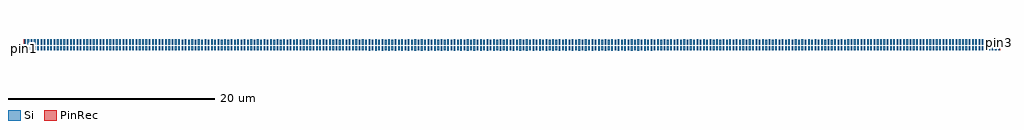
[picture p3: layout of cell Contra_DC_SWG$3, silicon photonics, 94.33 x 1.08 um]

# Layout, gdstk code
import gdstk
lib = gdstk.Library(unit=1e-6, precision=1e-09)
def R(c, l, rs):  # rectangles x0, y0, x1, y1
    for r in rs: c.add(gdstk.rectangle(r[:2], r[2:], *l))
def A(c, l, x, y, w, h, nx, ny, dx, dy):  # array of equal rectangles
    R(c, l, [(x+i*dx, y+j*dy, x+i*dx+w, y+j*dy+h) for i in range(nx) for j in range(ny)])
Si = (1, 0)
PinRec = (1, 10)

contra_dc_swg_3 = lib.new_cell('Contra_DC_SWG$3')
A(contra_dc_swg_3, Si, 42.716, -0.229, 0.158, 0.399, 14, 1, 0.634, 0)
A(contra_dc_swg_3, Si, 40.814, -0.228, 0.158, 0.399, 3, 1, 0.634, 0)
A(contra_dc_swg_3, Si, 51.592, -0.228, 0.158, 0.399, 3, 1, 0.634, 0)
A(contra_dc_swg_3, Si, 38.912, -0.227, 0.158, 0.399, 3, 1, 0.634, 0)
A(contra_dc_swg_3, Si, 53.494, -0.227, 0.158, 0.399, 3, 1, 0.634, 0)
A(contra_dc_swg_3, Si, 14.186, -0.205, 0.158, 0.399, 3, 1, 0.634, 0)
A(contra_dc_swg_3, Si, 78.22, -0.205, 0.158, 0.399, 3, 1, 0.634, 0)
A(contra_dc_swg_3, Si, 12.284, -0.204, 0.158, 0.399, 3, 1, 0.634, 0)
A(contra_dc_swg_3, Si, 80.122, -0.204, 0.158, 0.399, 3, 1, 0.634, 0)
A(contra_dc_swg_3, Si, 9.748, -0.203, 0.158, 0.399, 4, 1, 0.634, 0)
A(contra_dc_swg_3, Si, 82.024, -0.203, 0.158, 0.399, 4, 1, 0.634, 0)
A(contra_dc_swg_3, Si, 6.578, -0.202, 0.158, 0.399, 5, 1, 0.634, 0)
A(contra_dc_swg_3, Si, 84.56, -0.202, 0.158, 0.399, 5, 1, 0.634, 0)
A(contra_dc_swg_3, Si, 2.14, -0.201, 0.158, 0.399, 7, 1, 0.634, 0)
A(contra_dc_swg_3, Si, 87.73, -0.201, 0.158, 0.399, 7, 1, 0.634, 0)
A(contra_dc_swg_3, Si, -0.079, -0.2, 0.158, 0.4, 149, 1, 0.634, 0)
A(contra_dc_swg_3, Si, 0.238, -0.2, 0.158, 0.399, 3, 1, 0.634, 0)
A(contra_dc_swg_3, Si, 92.168, -0.2, 0.158, 0.399, 3, 1, 0.634, 0)
A(contra_dc_swg_3, Si, 43.667, 0.311, 0.158, 0.499, 12, 1, 0.634, 0)
A(contra_dc_swg_3, Si, 41.765, 0.312, 0.158, 0.499, 3, 1, 0.634, 0)
A(contra_dc_swg_3, Si, 51.275, 0.312, 0.158, 0.499, 3, 1, 0.634, 0)
A(contra_dc_swg_3, Si, 11.967, 0.345, 0.158, 0.499, 3, 1, 0.634, 0)
A(contra_dc_swg_3, Si, 81.073, 0.345, 0.158, 0.499, 3, 1, 0.634, 0)
A(contra_dc_swg_3, Si, 10.065, 0.346, 0.158, 0.499, 3, 1, 0.634, 0)
A(contra_dc_swg_3, Si, 82.975, 0.346, 0.158, 0.499, 3, 1, 0.634, 0)
A(contra_dc_swg_3, Si, 8.163, 0.347, 0.158, 0.499, 3, 1, 0.634, 0)
A(contra_dc_swg_3, Si, 84.877, 0.347, 0.158, 0.499, 3, 1, 0.634, 0)
A(contra_dc_swg_3, Si, 4.993, 0.348, 0.158, 0.499, 5, 1, 0.634, 0)
A(contra_dc_swg_3, Si, 86.779, 0.348, 0.158, 0.499, 5, 1, 0.634, 0)
A(contra_dc_swg_3, Si, -0.079, 0.349, 0.158, 0.499, 8, 1, 0.634, 0)
A(contra_dc_swg_3, Si, 89.949, 0.349, 0.158, 0.499, 7, 1, 0.634, 0)
A(contra_dc_swg_3, Si, 0.238, 0.35, 0.158, 0.5, 149, 1, 0.634, 0)
R(contra_dc_swg_3, Si, [(37.644,-0.226,37.802,0.173), (38.278,-0.226,38.436,0.173), (55.396,-0.226,55.554,0.173), (56.03,-0.226,56.188,0.173), (36.376,-0.225,36.534,0.174), (37.01,-0.225,37.168,0.174), (56.664,-0.225,56.822,0.174), (57.298,-0.225,57.456,0.174), (35.742,-0.224,35.9,0.175), (57.932,-0.224,58.09,0.175), (34.474,-0.223,34.632,0.176), (35.108,-0.223,35.266,0.176), (58.566,-0.223,58.724,0.176), (59.2,-0.223,59.358,0.176), (33.206,-0.222,33.364,0.177), (33.84,-0.222,33.998,0.177), (59.834,-0.222,59.992,0.177), (60.468,-0.222,60.626,0.177), (32.572,-0.221,32.73,0.178), (61.102,-0.221,61.26,0.178), (31.304,-0.22,31.462,0.179), (31.938,-0.22,32.096,0.179), (61.736,-0.22,61.894,0.179), (62.37,-0.22,62.528,0.179), (30.67,-0.219,30.828,0.18), (63.004,-0.219,63.162,0.18), (29.402,-0.218,29.56,0.181), (30.036,-0.218,30.194,0.181), (63.638,-0.218,63.796,0.181), (64.272,-0.218,64.43,0.181), (28.768,-0.217,28.926,0.182), (64.906,-0.217,65.064,0.182), (27.5,-0.216,27.658,0.183), (28.134,-0.216,28.292,0.183), (65.54,-0.216,65.698,0.183), (66.174,-0.216,66.332,0.183), (26.866,-0.215,27.024,0.184), (66.808,-0.215,66.966,0.184), (25.598,-0.214,25.756,0.185), (26.232,-0.214,26.39,0.185), (67.442,-0.214,67.6,0.185), (68.076,-0.214,68.234,0.185), (24.964,-0.213,25.122,0.186), (68.71,-0.213,68.868,0.186), (23.696,-0.212,23.854,0.187), (24.33,-0.212,24.488,0.187), (69.344,-0.212,69.502,0.187), (69.978,-0.212,70.136,0.187), (22.428,-0.211,22.586,0.188), (23.062,-0.211,23.22,0.188), (70.612,-0.211,70.77,0.188), (71.246,-0.211,71.404,0.188), (21.16,-0.21,21.318,0.189), (21.794,-0.21,21.952,0.189), (71.88,-0.21,72.038,0.189), (72.514,-0.21,72.672,0.189), (19.892,-0.209,20.05,0.19), (20.526,-0.209,20.684,0.19), (73.148,-0.209,73.306,0.19), (73.782,-0.209,73.94,0.19), (18.624,-0.208,18.782,0.191), (19.258,-0.208,19.416,0.191), (74.416,-0.208,74.574,0.191), (75.05,-0.208,75.208,0.191), (17.356,-0.207,17.514,0.192), (17.99,-0.207,18.148,0.192), (75.684,-0.207,75.842,0.192), (76.318,-0.207,76.476,0.192), (16.088,-0.206,16.246,0.193), (16.722,-0.206,16.88,0.193), (76.952,-0.206,77.11,0.193), (77.586,-0.206,77.744,0.193), (94.07,-0.2,94.228,0.2), (40.497,0.313,40.655,0.812), (41.131,0.313,41.289,0.812), (53.177,0.313,53.335,0.812), (53.811,0.313,53.969,0.812), (39.229,0.314,39.387,0.813), (39.863,0.314,40.021,0.813), (54.445,0.314,54.603,0.813), (55.079,0.314,55.237,0.813), (38.595,0.315,38.753,0.814), (55.713,0.315,55.871,0.814), (37.327,0.316,37.485,0.815), (37.961,0.316,38.119,0.815), (56.347,0.316,56.505,0.815), (56.981,0.316,57.139,0.815), (36.693,0.317,36.851,0.816), (57.615,0.317,57.773,0.816), (36.059,0.318,36.217,0.817), (58.249,0.318,58.407,0.817), (34.791,0.319,34.949,0.818), (35.425,0.319,35.583,0.818), (58.883,0.319,59.041,0.818), (59.517,0.319,59.675,0.818), (34.157,0.32,34.315,0.819), (60.151,0.32,60.309,0.819), (33.523,0.321,33.681,0.82), (60.785,0.321,60.943,0.82), (32.889,0.322,33.047,0.821), (61.419,0.322,61.577,0.821), (32.255,0.323,32.413,0.822), (62.053,0.323,62.211,0.822), (31.621,0.324,31.779,0.823), (62.687,0.324,62.845,0.823), (30.353,0.325,30.511,0.824), (30.987,0.325,31.145,0.824), (63.321,0.325,63.479,0.824), (63.955,0.325,64.113,0.824), (29.719,0.326,29.877,0.825), (64.589,0.326,64.747,0.825), (29.085,0.327,29.243,0.826), (65.223,0.327,65.381,0.826), (28.451,0.328,28.609,0.827), (65.857,0.328,66.015,0.827), (27.817,0.329,27.975,0.828), (66.491,0.329,66.649,0.828), (27.183,0.33,27.341,0.829), (67.125,0.33,67.283,0.829), (26.549,0.331,26.707,0.83), (67.759,0.331,67.917,0.83), (25.281,0.332,25.439,0.831), (25.915,0.332,26.073,0.831), (68.393,0.332,68.551,0.831), (69.027,0.332,69.185,0.831), (24.647,0.333,24.805,0.832), (69.661,0.333,69.819,0.832), (24.013,0.334,24.171,0.833), (70.295,0.334,70.453,0.833), (23.379,0.335,23.537,0.834), (70.929,0.335,71.087,0.834), (22.111,0.336,22.269,0.835), (22.745,0.336,22.903,0.835), (71.563,0.336,71.721,0.835), (72.197,0.336,72.355,0.835), (21.477,0.337,21.635,0.836), (72.831,0.337,72.989,0.836), (20.209,0.338,20.367,0.837), (20.843,0.338,21.001,0.837), (73.465,0.338,73.623,0.837), (74.099,0.338,74.257,0.837), (19.575,0.339,19.733,0.838), (74.733,0.339,74.891,0.838), (18.307,0.34,18.465,0.839), (18.941,0.34,19.099,0.839), (75.367,0.34,75.525,0.839), (76.001,0.34,76.159,0.839), (17.673,0.341,17.831,0.84), (76.635,0.341,76.793,0.84), (16.405,0.342,16.563,0.841), (17.039,0.342,17.197,0.841), (77.269,0.342,77.427,0.841), (77.903,0.342,78.061,0.841), (15.137,0.343,15.295,0.842), (15.771,0.343,15.929,0.842), (78.537,0.343,78.695,0.842), (79.171,0.343,79.329,0.842), (13.869,0.344,14.027,0.843), (14.503,0.344,14.661,0.843), (79.805,0.344,79.963,0.843), (80.439,0.344,80.597,0.843)])
contra_dc_swg_3.add(gdstk.FlexPath([(-0.069,0),(-0.089,0)], 0.4, ends="flush", simple_path=True, layer=1, datatype=10))  # PinRec
contra_dc_swg_3.add(gdstk.FlexPath([(-0.069,0.599),(-0.089,0.599)], 0.5, ends="flush", simple_path=True, layer=1, datatype=10))  # PinRec
contra_dc_swg_3.add(gdstk.FlexPath([(94.218,0.599),(94.238,0.599)], 0.5, ends="flush", simple_path=True, layer=1, datatype=10))  # PinRec
contra_dc_swg_3.add(gdstk.FlexPath([(94.218,0),(94.238,0)], 0.4, ends="flush", simple_path=True, layer=1, datatype=10))  # PinRec
contra_dc_swg_3.add(gdstk.Label('pin1', (-0.079,0), layer=1, texttype=10))
contra_dc_swg_3.add(gdstk.Label('pin2', (-0.079,0.599), layer=1, texttype=10))
contra_dc_swg_3.add(gdstk.Label('pin3', (94.228,0.599), layer=1, texttype=10))
contra_dc_swg_3.add(gdstk.Label('pin4', (94.228,0), layer=1, texttype=10))

lib.write_gds('Contra_DC_SWG_3.gds')
